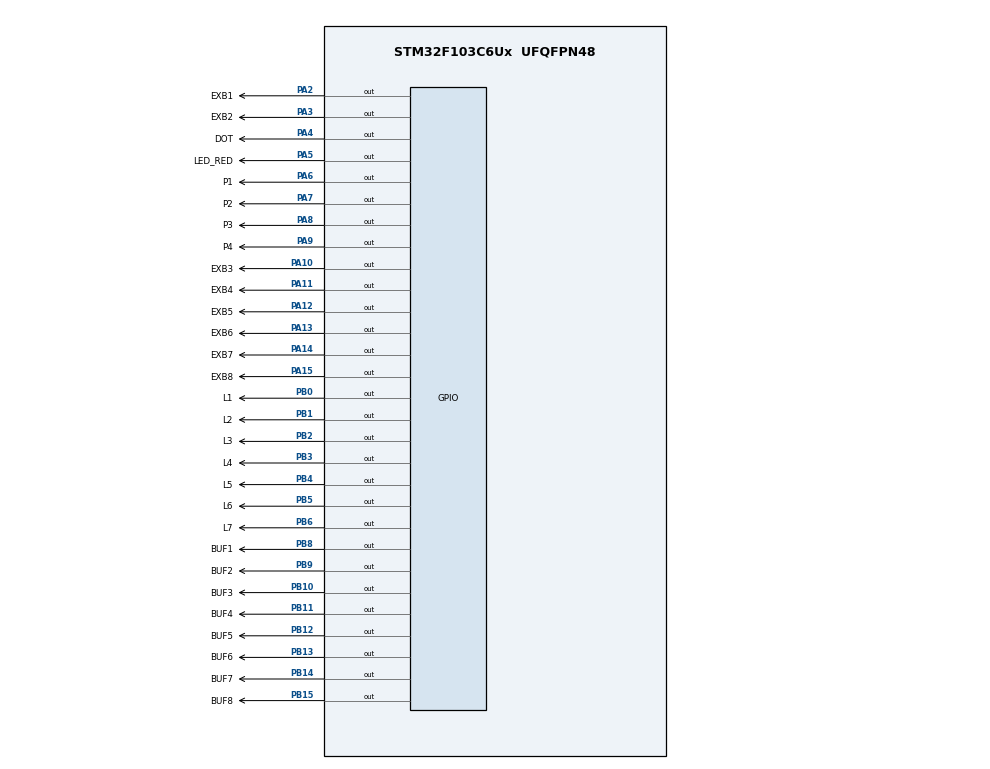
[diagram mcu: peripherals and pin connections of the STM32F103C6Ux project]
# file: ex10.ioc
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Mcu.Family=STM32F1
Mcu.Name=STM32F103C6Ux
Mcu.Package=UFQFPN48
NVIC.PriorityGroup=NVIC_PRIORITYGROUP_4
NVIC.TIM2_IRQn=true\:0\:0\:false\:false\:true\:true\:true
PA10.GPIO_Label=EXB3
PA10.Signal=GPIO_Output
PA11.GPIO_Label=EXB4
PA11.Signal=GPIO_Output
PA12.GPIO_Label=EXB5
PA12.Signal=GPIO_Output
PA13.GPIO_Label=EXB6
PA13.Signal=GPIO_Output
PA14.GPIO_Label=EXB7
PA14.Signal=GPIO_Output
PA15.GPIO_Label=EXB8
PA15.Signal=GPIO_Output
PA2.GPIO_Label=EXB1
PA2.Signal=GPIO_Output
PA3.GPIO_Label=EXB2
PA3.Signal=GPIO_Output
PA4.GPIO_Label=DOT
PA4.Signal=GPIO_Output
PA5.GPIO_Label=LED_RED
PA5.Signal=GPIO_Output
PA6.GPIO_Label=P1
PA6.Signal=GPIO_Output
PA7.GPIO_Label=P2
PA7.Signal=GPIO_Output
PA8.GPIO_Label=P3
PA8.Signal=GPIO_Output
PA9.GPIO_Label=P4
PA9.Signal=GPIO_Output
PB0.GPIO_Label=L1
PB0.Signal=GPIO_Output
PB1.GPIO_Label=L2
PB1.Signal=GPIO_Output
PB10.GPIO_Label=BUF3
PB10.Signal=GPIO_Output
PB11.GPIO_Label=BUF4
PB11.Signal=GPIO_Output
PB12.GPIO_Label=BUF5
PB12.Signal=GPIO_Output
PB13.GPIO_Label=BUF6
PB13.Signal=GPIO_Output
PB14.GPIO_Label=BUF7
PB14.Signal=GPIO_Output
PB15.GPIO_Label=BUF8
PB15.Signal=GPIO_Output
PB2.GPIO_Label=L3
PB2.Signal=GPIO_Output
PB3.GPIO_Label=L4
PB3.Signal=GPIO_Output
PB4.GPIO_Label=L5
PB4.Signal=GPIO_Output
PB5.GPIO_Label=L6
PB5.Signal=GPIO_Output
PB6.GPIO_Label=L7
PB6.Signal=GPIO_Output
PB8.GPIO_Label=BUF1
PB8.Signal=GPIO_Output
PB9.GPIO_Label=BUF2
PB9.Signal=GPIO_Output
ProjectManager.HeapSize=0x200
ProjectManager.StackSize=0x400
ProjectManager.TargetToolchain=STM32CubeIDE
RCC.APB1Freq_Value=8000000
RCC.APB2Freq_Value=8000000
TIM2.Period=9
TIM2.Prescaler=7999
VP_SYS_VS_ND.Mode=No_Debug
VP_TIM2_VS_ClockSourceINT.Mode=Internal
board=custom

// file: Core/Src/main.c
/* USER CODE BEGIN Header */
/**
  ******************************************************************************
  * @file           : main.c
  * @brief          : Main program body
  ******************************************************************************
  * @attention
  *
  * <h2><center>&copy; Copyright (c) 2022 STMicroelectronics.
  * All rights reserved.</center></h2>
  *
  * This software component is licensed by ST under BSD 3-Clause license,
  * the "License"; You may not use this file except in compliance with the
  * License. You may obtain a copy of the License at:
  *                        opensource.org/licenses/BSD-3-Clause
  *
  ******************************************************************************
  */
/* USER CODE END Header */
#include "main.h"

/* USER CODE BEGIN Includes */
#include "software_timer.h"
/* USER CODE END Includes */

TIM_HandleTypeDef htim2;

void SystemClock_Config(void);
static void MX_GPIO_Init(void);
static void MX_TIM2_Init(void);

/* USER CODE BEGIN 0 */
/* USER CODE BEGIN 0 */
void display7SEG(int num){
  	  HAL_GPIO_WritePin( L1_GPIO_Port , L1_Pin ,GPIO_PIN_SET );
  	  HAL_GPIO_WritePin( L2_GPIO_Port , L2_Pin ,GPIO_PIN_SET );
  	  HAL_GPIO_WritePin( L3_GPIO_Port , L3_Pin ,GPIO_PIN_SET );
  	  HAL_GPIO_WritePin( L4_GPIO_Port , L4_Pin ,GPIO_PIN_SET );
  	  HAL_GPIO_WritePin( L5_GPIO_Port , L5_Pin ,GPIO_PIN_SET );
  	  HAL_GPIO_WritePin( L6_GPIO_Port , L6_Pin ,GPIO_PIN_SET );
  	  HAL_GPIO_WritePin( L7_GPIO_Port , L7_Pin ,GPIO_PIN_SET );
  	  if(num<=0){
  		  HAL_GPIO_WritePin( L1_GPIO_Port , L1_Pin ,GPIO_PIN_RESET );
  		  HAL_GPIO_WritePin( L2_GPIO_Port , L2_Pin ,GPIO_PIN_RESET );
  		  HAL_GPIO_WritePin( L3_GPIO_Port , L3_Pin ,GPIO_PIN_RESET );
  		  HAL_GPIO_WritePin( L4_GPIO_Port , L4_Pin ,GPIO_PIN_RESET );
  		  HAL_GPIO_WritePin( L5_GPIO_Port , L5_Pin ,GPIO_PIN_RESET );
  		  HAL_GPIO_WritePin( L6_GPIO_Port , L6_Pin ,GPIO_PIN_RESET );
  	  }
  	  else if(num==1){
  		  HAL_GPIO_WritePin( L2_GPIO_Port , L2_Pin ,GPIO_PIN_RESET );
  		  HAL_GPIO_WritePin( L3_GPIO_Port , L3_Pin ,GPIO_PIN_RESET );
  	  }
  	  else if(num==2){
  		  HAL_GPIO_WritePin( L1_GPIO_Port , L1_Pin ,GPIO_PIN_RESET );
  		  HAL_GPIO_WritePin( L2_GPIO_Port , L2_Pin ,GPIO_PIN_RESET );
  		  HAL_GPIO_WritePin( L4_GPIO_Port , L4_Pin ,GPIO_PIN_RESET );
  		  HAL_GPIO_WritePin( L5_GPIO_Port , L5_Pin ,GPIO_PIN_RESET );
  		  HAL_GPIO_WritePin( L7_GPIO_Port , L7_Pin ,GPIO_PIN_RESET );
  	  }
  	  else if(num==3){
  		  HAL_GPIO_WritePin( L1_GPIO_Port , L1_Pin ,GPIO_PIN_RESET );
  		  HAL_GPIO_WritePin( L2_GPIO_Port , L2_Pin ,GPIO_PIN_RESET );
  		  HAL_GPIO_WritePin( L3_GPIO_Port , L3_Pin ,GPIO_PIN_RESET );
  		  HAL_GPIO_WritePin( L4_GPIO_Port , L4_Pin ,GPIO_PIN_RESET );
  		  HAL_GPIO_WritePin( L7_GPIO_Port , L7_Pin ,GPIO_PIN_RESET );
  	  }
  	  else if(num==4){
  		  HAL_GPIO_WritePin( L2_GPIO_Port , L2_Pin ,GPIO_PIN_RESET );
  		  HAL_GPIO_WritePin( L3_GPIO_Port , L3_Pin ,GPIO_PIN_RESET );
  		  HAL_GPIO_WritePin( L6_GPIO_Port , L6_Pin ,GPIO_PIN_RESET );
  		  HAL_GPIO_WritePin( L7_GPIO_Port , L7_Pin ,GPIO_PIN_RESET );
  	  }
  	  else if(num==5){
  		  HAL_GPIO_WritePin( L1_GPIO_Port , L1_Pin ,GPIO_PIN_RESET );
  		  HAL_GPIO_WritePin( L3_GPIO_Port , L3_Pin ,GPIO_PIN_RESET );
  		  HAL_GPIO_WritePin( L4_GPIO_Port , L4_Pin ,GPIO_PIN_RESET );
  		  HAL_GPIO_WritePin( L6_GPIO_Port , L6_Pin ,GPIO_PIN_RESET );
  		  HAL_GPIO_WritePin( L7_GPIO_Port , L7_Pin ,GPIO_PIN_RESET );
  	  }
  	  else if(num==6){
  		  HAL_GPIO_WritePin( L1_GPIO_Port , L1_Pin ,GPIO_PIN_RESET );
  		  HAL_GPIO_WritePin( L3_GPIO_Port , L3_Pin ,GPIO_PIN_RESET );
  		  HAL_GPIO_WritePin( L4_GPIO_Port , L4_Pin ,GPIO_PIN_RESET );
  		  HAL_GPIO_WritePin( L5_GPIO_Port , L5_Pin ,GPIO_PIN_RESET );
  		  HAL_GPIO_WritePin( L6_GPIO_Port , L6_Pin ,GPIO_PIN_RESET );
  		  HAL_GPIO_WritePin( L7_GPIO_Port , L7_Pin ,GPIO_PIN_RESET );
  	  }
  	  else if(num==7){
  		  HAL_GPIO_WritePin( L1_GPIO_Port , L1_Pin ,GPIO_PIN_RESET );
  		  HAL_GPIO_WritePin( L2_GPIO_Port , L2_Pin ,GPIO_PIN_RESET );
  		  HAL_GPIO_WritePin( L3_GPIO_Port , L3_Pin ,GPIO_PIN_RESET );
  	  }
  	  else if(num==8){
  		  HAL_GPIO_WritePin( L1_GPIO_Port , L1_Pin ,GPIO_PIN_RESET );
  		  HAL_GPIO_WritePin( L2_GPIO_Port , L2_Pin ,GPIO_PIN_RESET );
  		  HAL_GPIO_WritePin( L3_GPIO_Port , L3_Pin ,GPIO_PIN_RESET );
  		  HAL_GPIO_WritePin( L4_GPIO_Port , L4_Pin ,GPIO_PIN_RESET );
  		  HAL_GPIO_WritePin( L5_GPIO_Port , L5_Pin ,GPIO_PIN_RESET );
  		  HAL_GPIO_WritePin( L6_GPIO_Port , L6_Pin ,GPIO_PIN_RESET );
  		  HAL_GPIO_WritePin( L7_GPIO_Port , L7_Pin ,GPIO_PIN_RESET );
  	  }
  	  else if(num==9){
  		  HAL_GPIO_WritePin( L1_GPIO_Port , L1_Pin ,GPIO_PIN_RESET );
  		  HAL_GPIO_WritePin( L2_GPIO_Port , L2_Pin ,GPIO_PIN_RESET );
  		  HAL_GPIO_WritePin( L3_GPIO_Port , L3_Pin ,GPIO_PIN_RESET );
  		  HAL_GPIO_WritePin( L4_GPIO_Port , L4_Pin ,GPIO_PIN_RESET );
  		  HAL_GPIO_WritePin( L6_GPIO_Port , L6_Pin ,GPIO_PIN_RESET );
  		  HAL_GPIO_WritePin( L7_GPIO_Port , L7_Pin ,GPIO_PIN_RESET );
  	  }
    }

const int MAX_LED = 4;
int index_led = 0;
int led_buffer [4] = {1 , 2 , 3 , 4};
int hour = 15 , minute = 4 , second = 50;

void update7SEG (int index) {
	switch (index) {
	 	 case 0:
	 		 // Display the first 7 SEG with led_buffer [0]
			 HAL_GPIO_WritePin(P2_GPIO_Port, P2_Pin, GPIO_PIN_SET);
			 HAL_GPIO_WritePin(P3_GPIO_Port, P3_Pin, GPIO_PIN_SET);
			 HAL_GPIO_WritePin(P4_GPIO_Port, P4_Pin, GPIO_PIN_SET);
			 HAL_GPIO_WritePin(P1_GPIO_Port, P1_Pin, GPIO_PIN_RESET);
			 if(led_buffer[0] <= 9 && led_buffer[0] >= 0)
			 display7SEG(led_buffer[0]);
	 		 break;
	 	 case 1:
	 		 // Display the second 7 SEG with led_buffer [1]
			 HAL_GPIO_WritePin(P1_GPIO_Port, P1_Pin, GPIO_PIN_SET);
			 HAL_GPIO_WritePin(P3_GPIO_Port, P3_Pin, GPIO_PIN_SET);
			 HAL_GPIO_WritePin(P4_GPIO_Port, P4_Pin, GPIO_PIN_SET);
			 HAL_GPIO_WritePin(P2_GPIO_Port, P2_Pin, GPIO_PIN_RESET);
			 if(led_buffer[1] <= 9 && led_buffer[1] >= 0)
			 display7SEG(led_buffer[1]);
	 		 break;
	 	 case 2:
	 		 // Display the third 7 SEG with led_buffer [2]
			 HAL_GPIO_WritePin(P2_GPIO_Port, P2_Pin, GPIO_PIN_SET);
			 HAL_GPIO_WritePin(P1_GPIO_Port, P1_Pin, GPIO_PIN_SET);
			 HAL_GPIO_WritePin(P4_GPIO_Port, P4_Pin, GPIO_PIN_SET);
			 HAL_GPIO_WritePin(P3_GPIO_Port, P3_Pin, GPIO_PIN_RESET);
			 if(led_buffer[2] <= 9 && led_buffer[2] >= 0)
			 display7SEG(led_buffer[2]);
	 		 break ;
	 	 case 3:
	 		 // Display the forth 7 SEG with led_buffer [3]
			 HAL_GPIO_WritePin(P2_GPIO_Port, P2_Pin, GPIO_PIN_SET);
			 HAL_GPIO_WritePin(P3_GPIO_Port, P3_Pin, GPIO_PIN_SET);
			 HAL_GPIO_WritePin(P1_GPIO_Port, P1_Pin, GPIO_PIN_SET);
			 HAL_GPIO_WritePin(P4_GPIO_Port, P4_Pin, GPIO_PIN_RESET);
			 if(led_buffer[3] <= 9 && led_buffer[3] >= 0)
				 display7SEG(led_buffer[3]);
	 		 break;
	 	 default :
			 display7SEG(8);
	 		 break;
	 }
 }

void updateClockBuffer(){
	led_buffer[0] = hour / 10;
	led_buffer[1] = hour % 10;
	led_buffer[2] = minute / 10;
	if((minute % 10) <= 9 && (minute % 10) >= 0)
		led_buffer[3] = minute % 10;
}

const int MAX_LED_MATRIX = 8;
int indxLedMat = 0;
int idxLedOffset = 0;
uint8_t matrix_buffer[8] = {0xFF, 0x01, 0x00, 0xEC,
						    0xEC, 0x00, 0x01, 0xFF};
void updateLEDMatrix(int index, int offset){
	//set 8 high bits (PB15 -> PB8) of GPIOB's output data register to according buffer
	GPIOB->ODR = (GPIOB->ODR & 0x00FF) | (matrix_buffer[(index + offset) % MAX_LED_MATRIX] << 8);
	//scan each column one-by-one
	switch (index){
		case 0:
			HAL_GPIO_WritePin(GPIOA, BUF2_Pin|BUF3_Pin|BUF4_Pin
									|BUF5_Pin|BUF6_Pin|BUF7_Pin
									|BUF8_Pin, GPIO_PIN_SET);
			HAL_GPIO_WritePin(BUF1_GPIO_Port, BUF1_Pin, GPIO_PIN_RESET);
			break;
		case 1:
			HAL_GPIO_WritePin(GPIOA, BUF1_Pin|BUF3_Pin|BUF4_Pin
									|BUF5_Pin|BUF6_Pin|BUF7_Pin
									|BUF8_Pin, GPIO_PIN_SET);
			HAL_GPIO_WritePin(BUF2_GPIO_Port, BUF2_Pin, GPIO_PIN_RESET);
			break;
		case 2:
			HAL_GPIO_WritePin(GPIOA, BUF2_Pin|BUF1_Pin|BUF4_Pin
									|BUF5_Pin|BUF6_Pin|BUF7_Pin
									|BUF8_Pin, GPIO_PIN_SET);
			HAL_GPIO_WritePin(BUF3_GPIO_Port, BUF3_Pin, GPIO_PIN_RESET);
			break;
		case 3:
			HAL_GPIO_WritePin(GPIOA, BUF2_Pin|BUF3_Pin|BUF1_Pin
									|BUF5_Pin|BUF6_Pin|BUF7_Pin
									|BUF8_Pin, GPIO_PIN_SET);
			HAL_GPIO_WritePin(BUF4_GPIO_Port, BUF4_Pin, GPIO_PIN_RESET);
			break;
		case 4:
			HAL_GPIO_WritePin(GPIOA, BUF2_Pin|BUF3_Pin|BUF4_Pin
									|BUF1_Pin|BUF6_Pin|BUF7_Pin
									|BUF8_Pin, GPIO_PIN_SET);
			HAL_GPIO_WritePin(BUF5_GPIO_Port, BUF5_Pin, GPIO_PIN_RESET);
			break;
		case 5:
			HAL_GPIO_WritePin(GPIOA, BUF2_Pin|BUF3_Pin|BUF4_Pin
									|BUF5_Pin|BUF1_Pin|BUF7_Pin
									|BUF8_Pin, GPIO_PIN_SET);
			HAL_GPIO_WritePin(BUF6_GPIO_Port, BUF6_Pin, GPIO_PIN_RESET);
			break;
		case 6:
			HAL_GPIO_WritePin(GPIOA, BUF2_Pin|BUF3_Pin|BUF4_Pin
									|BUF5_Pin|BUF6_Pin|BUF1_Pin
									|BUF8_Pin, GPIO_PIN_SET);
			HAL_GPIO_WritePin(BUF7_GPIO_Port, BUF7_Pin, GPIO_PIN_RESET);
			break;
		case 7:
			HAL_GPIO_WritePin(GPIOA, BUF2_Pin|BUF3_Pin|BUF4_Pin
									|BUF5_Pin|BUF6_Pin|BUF7_Pin
									|BUF1_Pin, GPIO_PIN_SET);
			HAL_GPIO_WritePin(BUF8_GPIO_Port, BUF8_Pin, GPIO_PIN_RESET);
			break;
		default:
			break;
	}
}

/* USER CODE END 0 */

int main(void)
{

  /* MCU Configuration--------------------------------------------------------*/

  /* Reset of all peripherals, Initializes the Flash interface and the Systick. */
  HAL_Init();

  /* Configure the system clock */
  SystemClock_Config();

  /* Initialize all configured peripherals */
  MX_GPIO_Init();
  MX_TIM2_Init();
  /* USER CODE BEGIN 2 */
  HAL_TIM_Base_Start_IT (&htim2);
  /* USER CODE END 2 */

  /* Infinite loop */
  /* USER CODE BEGIN WHILE */

  int ledIndex = 0;
  int scanC = 0;
  updateClockBuffer();
  HAL_GPIO_WritePin(LED_RED_GPIO_Port, LED_RED_Pin, RESET);
  HAL_GPIO_WritePin(DOT_GPIO_Port, DOT_Pin, RESET);
  setTimer1(25);
  setTimer2(100);
  setTimer3(50);
//	setTimer3(10);
	 while (1) {
		 if(timer1_flag == 1){
		 		  setTimer1(25);
		 		  HAL_GPIO_TogglePin(LED_RED_GPIO_Port, LED_RED_Pin);
		 		  update7SEG(ledIndex);
		 		  ledIndex++;
		 		  if(ledIndex > 3)
		 			  	  ledIndex = 0;
		 	  }
		 	  if(timer2_flag == 1){
		 		  setTimer2(100);
		 		  second ++;
		 		  if ( second >= 60) {
					  second = 0;
					  minute ++;
		 		  }
		 		  if( minute >= 60) {
					  minute = 0;
					  hour ++;
		 		  }
		 		  if( hour >=24) {
					  hour = 0;
		 		  }
		 		  updateClockBuffer();
		 		  HAL_GPIO_TogglePin(DOT_GPIO_Port, DOT_Pin);
		 	  }
		 	  if (timer3_flag == 1){
				  setTimer3(50);
				  //increase scan counter for each column scanned
				  scanC++;
				  indxLedMat %= MAX_LED_MATRIX;
				  updateLEDMatrix(indxLedMat++, idxLedOffset);
			  }

			  if (scanC >= 8){
				  //increase offset after scanning all 8 columns
				  idxLedOffset++;
				  idxLedOffset %= MAX_LED_MATRIX;
				  //reset scan counter
				  scanC = 0;
			  }
	 }
  /* USER CODE END 3 */
}

void SystemClock_Config(void)
{
  RCC_OscInitTypeDef RCC_OscInitStruct = {0};
  RCC_ClkInitTypeDef RCC_ClkInitStruct = {0};

  /** Initializes the RCC Oscillators according to the specified parameters
  * in the RCC_OscInitTypeDef structure.
  */
  RCC_OscInitStruct.OscillatorType = RCC_OSCILLATORTYPE_HSI;
  RCC_OscInitStruct.HSIState = RCC_HSI_ON;
  RCC_OscInitStruct.HSICalibrationValue = RCC_HSICALIBRATION_DEFAULT;
  RCC_OscInitStruct.PLL.PLLState = RCC_PLL_NONE;
  if (HAL_RCC_OscConfig(&RCC_OscInitStruct) != HAL_OK)
  {
    Error_Handler();
  }
  /** Initializes the CPU, AHB and APB buses clocks
  */
  RCC_ClkInitStruct.ClockType = RCC_CLOCKTYPE_HCLK|RCC_CLOCKTYPE_SYSCLK
                              |RCC_CLOCKTYPE_PCLK1|RCC_CLOCKTYPE_PCLK2;
  RCC_ClkInitStruct.SYSCLKSource = RCC_SYSCLKSOURCE_HSI;
  RCC_ClkInitStruct.AHBCLKDivider = RCC_SYSCLK_DIV1;
  RCC_ClkInitStruct.APB1CLKDivider = RCC_HCLK_DIV1;
  RCC_ClkInitStruct.APB2CLKDivider = RCC_HCLK_DIV1;

  if (HAL_RCC_ClockConfig(&RCC_ClkInitStruct, FLASH_LATENCY_0) != HAL_OK)
  {
    Error_Handler();
  }
}

static void MX_TIM2_Init(void)
{

  TIM_ClockConfigTypeDef sClockSourceConfig = {0};
  TIM_MasterConfigTypeDef sMasterConfig = {0};

  htim2.Instance = TIM2;
  htim2.Init.Prescaler = 7999;
  htim2.Init.CounterMode = TIM_COUNTERMODE_UP;
  htim2.Init.Period = 9;
  htim2.Init.ClockDivision = TIM_CLOCKDIVISION_DIV1;
  htim2.Init.AutoReloadPreload = TIM_AUTORELOAD_PRELOAD_DISABLE;
  if (HAL_TIM_Base_Init(&htim2) != HAL_OK)
  {
    Error_Handler();
  }
  sClockSourceConfig.ClockSource = TIM_CLOCKSOURCE_INTERNAL;
  if (HAL_TIM_ConfigClockSource(&htim2, &sClockSourceConfig) != HAL_OK)
  {
    Error_Handler();
  }
  sMasterConfig.MasterOutputTrigger = TIM_TRGO_RESET;
  sMasterConfig.MasterSlaveMode = TIM_MASTERSLAVEMODE_DISABLE;
  if (HAL_TIMEx_MasterConfigSynchronization(&htim2, &sMasterConfig) != HAL_OK)
  {
    Error_Handler();
  }

}

static void MX_GPIO_Init(void)
{
  GPIO_InitTypeDef GPIO_InitStruct = {0};

  /* GPIO Ports Clock Enable */
  __HAL_RCC_GPIOA_CLK_ENABLE();
  __HAL_RCC_GPIOB_CLK_ENABLE();

  /*Configure GPIO pin Output Level */
  HAL_GPIO_WritePin(GPIOA, EXB1_Pin|EXB2_Pin|DOT_Pin|LED_RED_Pin
                          |P1_Pin|P2_Pin|P3_Pin|P4_Pin
                          |EXB3_Pin|EXB4_Pin|EXB5_Pin|EXB6_Pin
                          |EXB7_Pin|EXB8_Pin, GPIO_PIN_RESET);

  /*Configure GPIO pin Output Level */
  HAL_GPIO_WritePin(GPIOB, L1_Pin|L2_Pin|L3_Pin|BUF3_Pin
                          |BUF4_Pin|BUF5_Pin|BUF6_Pin|BUF7_Pin
                          |BUF8_Pin|L4_Pin|L5_Pin|L6_Pin
                          |L7_Pin|BUF1_Pin|BUF2_Pin, GPIO_PIN_RESET);

  /*Configure GPIO pins : EXB1_Pin EXB2_Pin DOT_Pin LED_RED_Pin
                           P1_Pin P2_Pin P3_Pin P4_Pin
                           EXB3_Pin EXB4_Pin EXB5_Pin EXB6_Pin
                           EXB7_Pin EXB8_Pin */
  GPIO_InitStruct.Pin = EXB1_Pin|EXB2_Pin|DOT_Pin|LED_RED_Pin
                          |P1_Pin|P2_Pin|P3_Pin|P4_Pin
                          |EXB3_Pin|EXB4_Pin|EXB5_Pin|EXB6_Pin
                          |EXB7_Pin|EXB8_Pin;
  GPIO_InitStruct.Mode = GPIO_MODE_OUTPUT_PP;
  GPIO_InitStruct.Pull = GPIO_NOPULL;
  GPIO_InitStruct.Speed = GPIO_SPEED_FREQ_LOW;
  HAL_GPIO_Init(GPIOA, &GPIO_InitStruct);

  /*Configure GPIO pins : L1_Pin L2_Pin L3_Pin BUF3_Pin
                           BUF4_Pin BUF5_Pin BUF6_Pin BUF7_Pin
                           BUF8_Pin L4_Pin L5_Pin L6_Pin
                           L7_Pin BUF1_Pin BUF2_Pin */
  GPIO_InitStruct.Pin = L1_Pin|L2_Pin|L3_Pin|BUF3_Pin
                          |BUF4_Pin|BUF5_Pin|BUF6_Pin|BUF7_Pin
                          |BUF8_Pin|L4_Pin|L5_Pin|L6_Pin
                          |L7_Pin|BUF1_Pin|BUF2_Pin;
  GPIO_InitStruct.Mode = GPIO_MODE_OUTPUT_PP;
  GPIO_InitStruct.Pull = GPIO_NOPULL;
  GPIO_InitStruct.Speed = GPIO_SPEED_FREQ_LOW;
  HAL_GPIO_Init(GPIOB, &GPIO_InitStruct);

}

/* USER CODE BEGIN 4 */
void HAL_TIM_PeriodElapsedCallback ( TIM_HandleTypeDef* htim )
{
	timerRun();
}
/* USER CODE END 4 */

void Error_Handler(void)
{
  __disable_irq();
  while (1)
  {
  }
}

/************************ (C) COPYRIGHT STMicroelectronics *****END OF FILE****/
